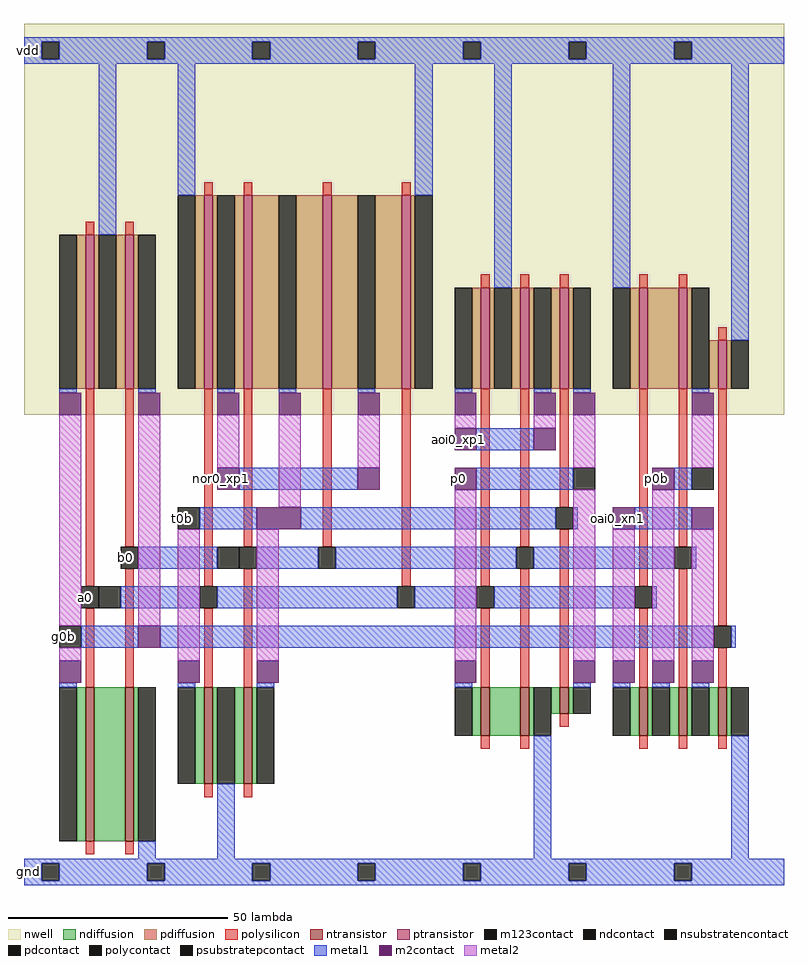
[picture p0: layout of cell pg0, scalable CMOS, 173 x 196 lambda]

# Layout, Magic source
magic
tech scmos
<< nwell >>
rect 0 107 173 196
<< ntransistor >>
rect 14 10 16 45
rect 23 10 25 45
rect 41 23 43 45
rect 50 23 52 45
rect 104 34 106 45
rect 113 34 115 45
rect 122 39 124 45
rect 140 34 142 45
rect 149 34 151 45
rect 158 34 160 45
<< ptransistor >>
rect 14 113 16 148
rect 23 113 25 148
rect 41 113 43 157
rect 50 113 52 157
rect 68 113 70 157
rect 86 113 88 157
rect 104 113 106 136
rect 113 113 115 136
rect 122 113 124 136
rect 140 113 142 136
rect 149 113 151 136
rect 158 113 160 124
<< ndiffusion >>
rect 12 10 14 45
rect 16 10 23 45
rect 25 10 26 45
rect 39 23 41 45
rect 43 23 44 45
rect 48 23 50 45
rect 52 23 53 45
rect 102 34 104 45
rect 106 34 113 45
rect 115 34 116 45
rect 120 39 122 45
rect 124 39 125 45
rect 138 34 140 45
rect 142 34 143 45
rect 147 34 149 45
rect 151 34 152 45
rect 156 34 158 45
rect 160 34 161 45
<< pdiffusion >>
rect 12 113 14 148
rect 16 113 17 148
rect 21 113 23 148
rect 25 113 26 148
rect 39 113 41 157
rect 43 113 44 157
rect 48 113 50 157
rect 52 113 58 157
rect 62 113 68 157
rect 70 113 76 157
rect 80 113 86 157
rect 88 113 89 157
rect 102 113 104 136
rect 106 113 107 136
rect 111 113 113 136
rect 115 113 116 136
rect 120 113 122 136
rect 124 113 125 136
rect 138 113 140 136
rect 142 113 149 136
rect 151 113 152 136
rect 156 113 158 124
rect 160 113 161 124
<< ndcontact >>
rect 8 10 12 45
rect 26 10 30 45
rect 35 23 39 45
rect 44 23 48 45
rect 53 23 57 45
rect 98 34 102 45
rect 116 34 120 45
rect 125 39 129 45
rect 134 34 138 45
rect 143 34 147 45
rect 152 34 156 45
rect 161 34 165 45
<< pdcontact >>
rect 8 113 12 148
rect 17 113 21 148
rect 26 113 30 148
rect 35 113 39 157
rect 44 113 48 157
rect 58 113 62 157
rect 76 113 80 157
rect 89 113 93 157
rect 98 113 102 136
rect 107 113 111 136
rect 116 113 120 136
rect 125 113 129 136
rect 134 113 138 136
rect 152 113 156 136
rect 161 113 165 124
<< psubstratepcontact >>
rect 4 1 8 5
rect 28 1 32 5
rect 52 1 56 5
rect 76 1 80 5
rect 100 1 104 5
rect 124 1 128 5
rect 148 1 152 5
<< nsubstratencontact >>
rect 4 188 8 192
rect 28 188 32 192
rect 52 188 56 192
rect 76 188 80 192
rect 100 188 104 192
rect 124 188 128 192
rect 148 188 152 192
<< polysilicon >>
rect 41 157 43 160
rect 50 157 52 160
rect 68 157 70 160
rect 86 157 88 160
rect 14 148 16 151
rect 23 148 25 151
rect 104 136 106 139
rect 113 136 115 139
rect 122 136 124 139
rect 140 136 142 139
rect 149 136 151 139
rect 158 124 160 127
rect 14 68 16 113
rect 23 77 25 113
rect 14 45 16 63
rect 23 45 25 72
rect 41 68 43 113
rect 50 77 52 113
rect 68 77 70 113
rect 41 45 43 63
rect 50 45 52 72
rect 86 68 88 113
rect 104 68 106 113
rect 113 77 115 113
rect 122 86 124 113
rect 104 45 106 63
rect 113 45 115 72
rect 122 45 124 81
rect 140 68 142 113
rect 149 77 151 113
rect 140 45 142 63
rect 149 45 151 72
rect 158 59 160 113
rect 158 45 160 54
rect 122 36 124 39
rect 104 31 106 34
rect 113 31 115 34
rect 140 31 142 34
rect 149 31 151 34
rect 158 31 160 34
rect 41 20 43 23
rect 50 20 52 23
rect 14 7 16 10
rect 23 7 25 10
<< polycontact >>
rect 22 72 26 77
rect 13 63 17 68
rect 49 72 53 77
rect 67 72 71 77
rect 40 63 44 68
rect 121 81 125 86
rect 112 72 116 77
rect 85 63 89 68
rect 103 63 107 68
rect 148 72 152 77
rect 139 63 143 68
rect 157 54 161 59
<< metal1 >>
rect 0 192 173 193
rect 0 188 4 192
rect 8 188 28 192
rect 32 188 52 192
rect 56 188 76 192
rect 80 188 100 192
rect 104 188 124 192
rect 128 188 148 192
rect 152 188 173 192
rect 0 187 173 188
rect 17 148 21 187
rect 35 157 39 187
rect 89 157 93 187
rect 8 112 12 113
rect 26 112 30 113
rect 44 112 48 113
rect 58 112 62 113
rect 107 136 111 187
rect 134 136 138 187
rect 76 112 80 113
rect 98 112 102 113
rect 116 112 120 113
rect 161 124 165 187
rect 125 112 129 113
rect 152 112 156 113
rect 103 99 116 104
rect 49 90 76 95
rect 103 90 125 95
rect 148 90 152 95
rect 40 81 53 86
rect 63 81 121 86
rect 125 81 126 86
rect 139 81 152 86
rect 26 72 44 77
rect 53 72 67 77
rect 71 72 112 77
rect 116 72 148 77
rect 152 72 153 77
rect 22 63 40 68
rect 44 63 85 68
rect 89 63 103 68
rect 107 63 139 68
rect 143 63 144 68
rect 13 54 26 59
rect 31 54 157 59
rect 161 54 162 59
rect 8 45 12 46
rect 35 45 39 46
rect 53 45 57 46
rect 98 45 102 46
rect 125 45 129 46
rect 134 45 138 46
rect 143 45 147 46
rect 152 45 156 46
rect 26 6 30 10
rect 44 6 48 23
rect 116 6 120 34
rect 161 6 165 34
rect 0 5 173 6
rect 0 1 4 5
rect 8 1 28 5
rect 32 1 52 5
rect 56 1 76 5
rect 80 1 100 5
rect 104 1 124 5
rect 128 1 148 5
rect 152 1 173 5
rect 0 0 173 1
<< m2contact >>
rect 8 107 13 112
rect 26 107 31 112
rect 44 107 49 112
rect 58 107 63 112
rect 76 107 81 112
rect 98 107 103 112
rect 116 107 121 112
rect 125 107 130 112
rect 152 107 157 112
rect 98 99 103 104
rect 116 99 121 104
rect 44 90 49 95
rect 76 90 81 95
rect 98 90 103 95
rect 143 90 148 95
rect 53 81 63 86
rect 134 81 139 86
rect 152 81 157 86
rect 26 54 31 59
rect 8 46 13 51
rect 35 46 40 51
rect 53 46 58 51
rect 98 46 103 51
rect 125 46 130 51
rect 134 46 139 51
rect 143 46 148 51
rect 152 46 157 51
<< metal2 >>
rect 8 59 13 107
rect 26 59 31 107
rect 44 95 49 107
rect 58 86 63 107
rect 76 95 81 107
rect 98 104 103 107
rect 116 104 121 107
rect 125 95 130 107
rect 152 95 157 107
rect 8 51 13 54
rect 35 51 40 81
rect 53 51 58 81
rect 98 51 103 90
rect 125 51 130 90
rect 134 51 139 81
rect 143 51 148 90
rect 152 51 157 81
<< m123contact >>
rect 17 63 22 68
rect 8 54 13 59
rect 35 81 40 86
rect 44 72 49 77
rect 125 90 130 95
rect 152 90 157 95
<< labels >>
rlabel metal1 13 63 15 68 0 a0
port 1 nsew
rlabel metal1 22 72 24 77 0 b0
port 2 nsew
rlabel metal1 8 54 10 59 0 g0b
port 3 nsew
rlabel m2contact 98 90 100 95 0 p0
port 4 nsew
rlabel m2contact 143 90 145 95 0 p0b
port 5 nsew
rlabel metal1 35 81 37 86 0 t0b
port 6 nsew
rlabel m2contact 98 99 100 104 0 aoi0_xp1
rlabel m2contact 44 90 46 95 0 nor0_xp1
rlabel m2contact 134 81 136 86 0 oai0_xn1
rlabel metal1 0 187 2 193 0 vdd
port 7 nsew
rlabel metal1 0 0 2 6 0 gnd
port 8 nsew
<< end >>
